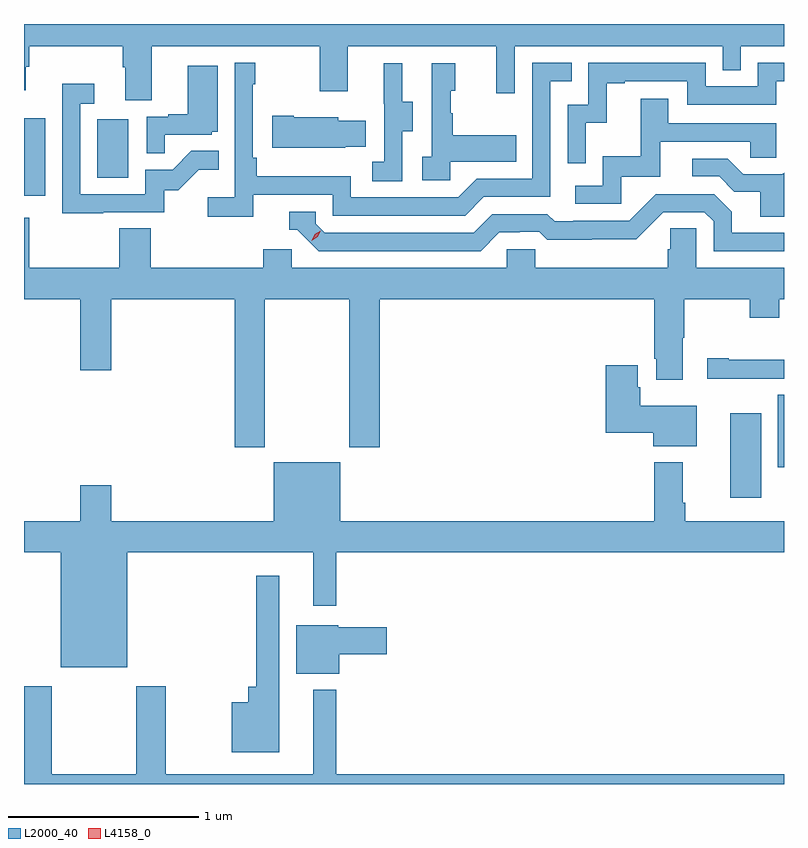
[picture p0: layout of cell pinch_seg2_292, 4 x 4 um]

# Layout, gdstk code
import gdstk
lib = gdstk.Library(unit=1e-6, precision=1e-09)
def R(c, l, rs):  # rectangles x0, y0, x1, y1
    for r in rs: c.add(gdstk.rectangle(r[:2], r[2:], *l))
def P(c, l, *ps):  # polygons
    for p in ps: c.add(gdstk.Polygon(p, *l))
L2000_40 = (2000, 40)
L4158_0 = (4158, 0)

pinch_seg2_292 = lib.new_cell('pinch_seg2_292')
R(pinch_seg2_292, L2000_40, [(947.651,641.262,947.812,641.707), (947.9,641.424,947.933,641.804), (943.933,642.851,944.044,643.261), (944.318,642.948,944.482,643.255)])
P(pinch_seg2_292, L2000_40, [(944.605,643.64),(945.49,643.64),(945.49,643.401),(945.637,643.401),(945.637,643.64),(946.418,643.64),(946.418,643.392),(946.515,643.392),(946.515,643.64),(947.61,643.64),(947.61,643.513),(947.706,643.513),(947.706,643.64),(947.933,643.64),(947.933,643.756),(943.933,643.756),(943.933,643.407),(943.943,643.407),(943.943,643.532),(943.961,643.532),(943.961,643.64),(944.453,643.64),(944.453,643.528),(944.465,643.528),(944.465,643.354),(944.605,643.354)],
  [(945.14,642.858),(945.558,642.858),(945.558,642.747),(946.255,642.747),(946.354,642.846),(946.704,642.846),(946.704,643.455),(946.817,643.455),(946.817,643.551),(946.608,643.551),(946.608,642.942),(946.317,642.942),(946.218,642.843),(945.654,642.843),(945.654,642.955),(945.158,642.955),(945.158,643.051),(945.138,643.051),(945.138,643.439),(945.151,643.439),(945.151,643.552),(945.042,643.552),(945.042,642.844),(944.901,642.844),(944.901,642.742),(945.14,642.742)],
  [(946.89,643.235),(947,643.235),(947,643.443),(947.095,643.443),(947.095,643.455),(947.424,643.455),(947.424,643.332),(947.892,643.332),(947.892,643.455),(947.933,643.455),(947.933,643.551),(947.796,643.551),(947.796,643.428),(947.52,643.428),(947.52,643.551),(946.902,643.551),(946.902,643.332),(946.794,643.332),(946.794,643.023),(946.89,643.023)],
  [(945.924,643.192),(945.979,643.192),(945.979,643.347),(945.925,643.347),(945.925,643.549),(945.827,643.549),(945.827,643.335),(945.828,643.335),(945.828,643.031),(945.765,643.031),(945.765,642.928),(945.924,642.928)],
  [(946.176,643.031),(946.523,643.031),(946.523,643.171),(946.189,643.171),(946.189,643.286),(946.179,643.286),(946.179,643.404),(946.204,643.404),(946.204,643.549),(946.08,643.549),(946.08,643.058),(946.029,643.058),(946.029,642.933),(946.176,642.933)],
  [(944.675,643.173),(944.922,643.173),(944.922,643.188),(944.953,643.188),(944.953,643.537),(944.795,643.537),(944.795,643.282),(944.691,643.282),(944.691,643.269),(944.58,643.269),(944.58,643.075),(944.675,643.075)],
  [(944.351,642.765),(944.67,642.765),(944.67,642.882),(944.746,642.882),(944.853,642.989),(944.957,642.989),(944.957,643.088),(944.813,643.088),(944.715,642.99),(944.571,642.99),(944.571,642.861),(944.229,642.861),(944.229,643.335),(944.302,643.335),(944.302,643.441),(944.133,643.441),(944.133,642.76),(944.351,642.76)],
  [(947.076,642.951),(947.281,642.951),(947.281,643.137),(947.755,643.137),(947.755,643.053),(947.892,643.053),(947.892,643.233),(947.323,643.233),(947.323,643.363),(947.179,643.363),(947.179,643.06),(946.98,643.06),(946.98,642.906),(946.833,642.906),(946.833,642.81),(947.076,642.81)],
  [(945.623,643.109),(945.731,643.109),(945.731,643.246),(945.588,643.246),(945.588,643.264),(945.352,643.264),(945.352,643.272),(945.24,643.272),(945.24,643.106),(945.623,643.106)],
  [(947.933,642.974),(947.925,642.966),(947.719,642.966),(947.638,643.047),(947.451,643.047),(947.451,642.954),(947.592,642.954),(947.672,642.874),(947.807,642.874),(947.807,642.742),(947.933,642.742)],
  [(946.435,642.66),(946.542,642.66),(946.542,642.663),(946.645,642.663),(946.687,642.621),(946.92,642.621),(946.92,642.623),(947.156,642.623),(947.298,642.765),(947.514,642.765),(947.562,642.717),(947.562,642.561),(947.933,642.561),(947.933,642.657),(947.659,642.657),(947.659,642.767),(947.565,642.861),(947.259,642.861),(947.118,642.72),(946.825,642.72),(946.825,642.717),(946.726,642.717),(946.687,642.756),(946.398,642.756),(946.299,642.657),(945.516,642.657),(945.468,642.705),(945.468,642.768),(945.329,642.768),(945.329,642.672),(945.372,642.672),(945.483,642.561),(946.336,642.561)],
  [(947.335,642.57),(947.321,642.57),(947.321,642.472),(946.623,642.472),(946.623,642.57),(946.473,642.57),(946.473,642.472),(945.342,642.472),(945.342,642.57),(945.191,642.57),(945.191,642.472),(944.6,642.472),(944.6,642.68),(944.435,642.68),(944.435,642.472),(943.961,642.472),(943.961,642.736),(943.933,642.736),(943.933,642.308),(944.228,642.308),(944.228,641.934),(944.392,641.934),(944.392,642.308),(945.041,642.308),(945.041,641.529),(945.201,641.529),(945.201,642.308),(945.646,642.308),(945.646,641.529),(945.806,641.529),(945.806,642.308),(947.249,642.308),(947.249,641.995),(947.261,641.995),(947.261,641.883),(947.401,641.883),(947.401,642.104),(947.409,642.104),(947.409,642.308),(947.752,642.308),(947.752,642.209),(947.907,642.209),(947.907,642.308),(947.933,642.308),(947.933,642.472),(947.472,642.472),(947.472,642.68),(947.335,642.68)],
  [(947.804,641.889),(947.933,641.889),(947.933,641.988),(947.641,641.988),(947.641,641.998),(947.529,641.998),(947.529,641.888),(947.804,641.888)],
  [(947.473,641.746),(947.177,641.746),(947.177,641.844),(947.164,641.844),(947.164,641.959),(946.994,641.959),(946.994,641.606),(947.246,641.606),(947.246,641.534),(947.473,641.534)],
  [(944.476,640.976),(945.455,640.976),(945.455,640.695),(945.577,640.695),(945.577,640.976),(947.933,640.976),(947.933,641.14),(947.414,641.14),(947.414,641.236),(947.401,641.236),(947.401,641.449),(947.249,641.449),(947.249,641.14),(945.598,641.14),(945.598,641.449),(945.248,641.449),(945.248,641.14),(944.392,641.14),(944.392,641.329),(944.228,641.329),(944.228,641.14),(943.933,641.14),(943.933,640.976),(944.126,640.976),(944.126,640.37),(944.476,640.37)],
  [(945.277,640.852),(945.156,640.852),(945.156,640.267),(945.112,640.267),(945.112,640.186),(945.026,640.186),(945.026,639.923),(945.277,639.923)],
  [(945.592,640.439),(945.841,640.439),(945.841,640.581),(945.588,640.581),(945.588,640.591),(945.365,640.591),(945.365,640.337),(945.592,640.337)],
  [(947.933,639.808),(945.577,639.808),(945.577,640.252),(945.455,640.252),(945.455,639.808),(944.679,639.808),(944.679,640.27),(944.524,640.27),(944.524,639.808),(944.079,639.808),(944.079,640.27),(943.933,640.27),(943.933,639.756),(947.933,639.756)])
P(pinch_seg2_292, L4158_0, [(945.447,642.616),(945.447,642.617),(945.463,642.649),(945.494,642.669),(945.494,642.669),(945.494,642.669),(945.478,642.636),(945.447,642.616)])

lib.write_gds('pinch_seg2_292.gds')
